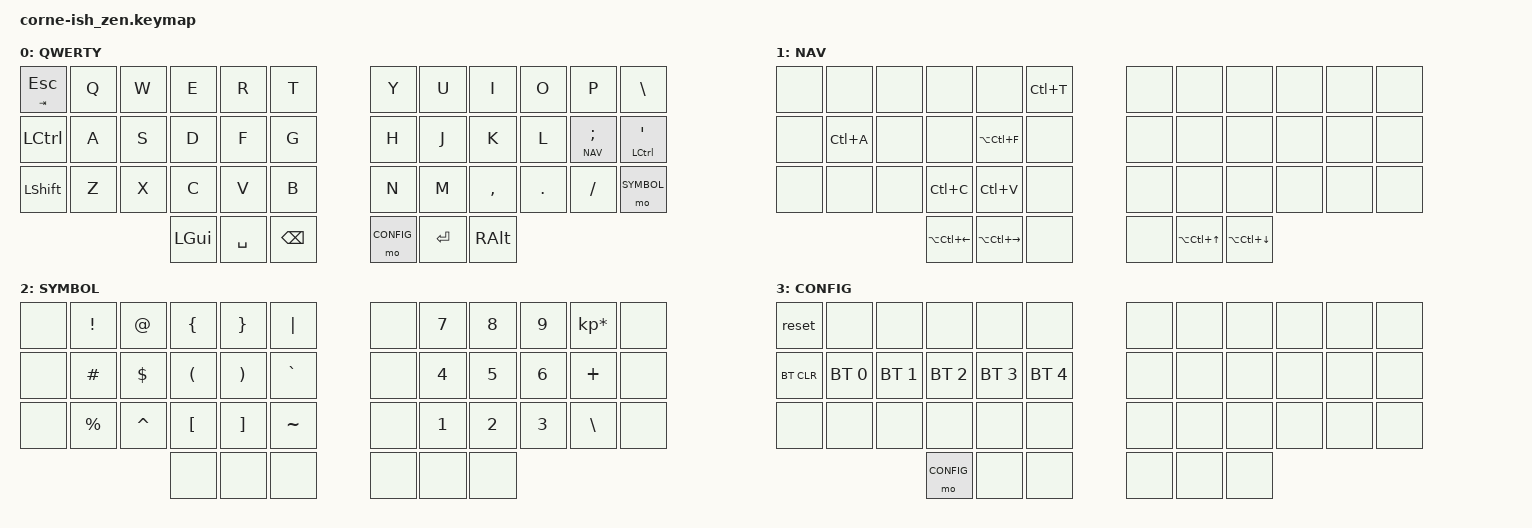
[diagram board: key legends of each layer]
/*
*
* Copyright (c) 2021 Darryl deHaan
* SPDX-License-Identifier: MIT
*
*
*
*/

#include <behaviors.dtsi>
#include <dt-bindings/zmk/keys.h>
#include <dt-bindings/zmk/bt.h>

#define DEFAULT 0
#define NAV 1
#define SYMBOL 2
#define CONFIG 3

/ {
        keymap {
                compatible = "zmk,keymap";

                default_layer {
                        label = "QWERTY";
                        bindings = <
   &mt TAB ESC   &kp Q &kp W  &kp E  &kp R   &kp T        &kp Y   &kp U   &kp I     &kp O   &kp P    &kp BSLH
   &kp LCTRL &kp A &kp S  &kp D  &kp F   &kp G        &kp H   &kp J   &kp K     &kp L   &lt NAV SEMI &mt LCTRL SQT
   &kp LSHFT &kp Z &kp X  &kp C  &kp V   &kp B        &kp N   &kp M   &kp COMMA &kp DOT &kp FSLH &mo SYMBOL
                   &kp LGUI &kp SPACE &kp BSPC        &mo CONFIG &kp RET &kp RALT
                        >;
                };

                nav_layer {
                        label = "NAV";
                        bindings = <
   &none    &none       &none   &none      &none         &kp LC(T)  &none         &none &none &none &none &none
   &none    &kp LC(A)   &none   &none      &kp LA(LC(F)) &none      &none         &none &none &none &none &none
   &none    &none       &none   &kp LC(C)  &kp LC(V)     &none      &none         &none &none &none &none &none
        &kp LA(LC(LEFT)) &kp LA(LC(RIGHT)) &none               &none      &kp LA(LC(UP)) &kp LA(LC(DOWN))
                        >;
                };

                raise_layer {
                        label = "SYMBOL";
                        bindings = <
   &none &kp EXCL  &kp AT    &kp LBRC &kp RBRC &kp PIPE     &none &kp N7 &kp N8 &kp N9  &kp KP_MULTIPLY &none
   &none &kp HASH  &kp DLLR  &kp LPAR &kp RPAR &kp GRAVE    &none &kp N4 &kp N5 &kp N6  &kp PLUS        &none
   &none &kp PRCNT &kp CARET &kp LBKT &kp RBKT &kp TILDE    &none &kp N1 &kp N2 &kp N3  &kp BSLH        &none
                              &none   &none    &none        &none &none &none
                        >;
                };
                
                config_layer {
                        label = "CONFIG";
                        bindings = <
   &reset     &none        &none        &none        &none        &none           &none &none &none &none &none &none 
   &bt BT_CLR &bt BT_SEL 0 &bt BT_SEL 1 &bt BT_SEL 2 &bt BT_SEL 3 &bt BT_SEL 4    &none &none &none &none &none &none
   &none      &none        &none        &none        &none        &none           &none &none &none &none &none &none
                                                &mo CONFIG &none &none    &none &none &none
                        >;
                };
        };
};
